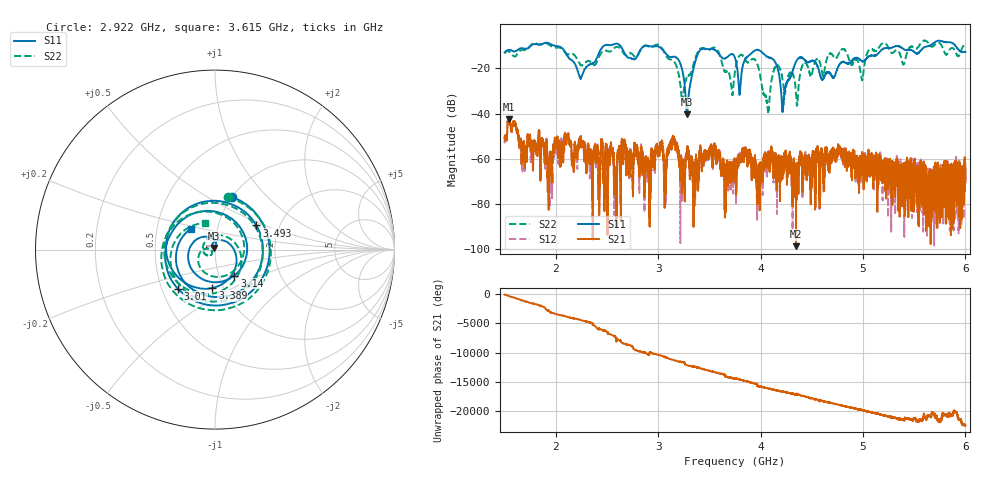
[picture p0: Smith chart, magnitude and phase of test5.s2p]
!Keysight Technologies N9923A: A.08.15
!Date: Monday, 19 February 2024 16:34:29
!Timezone: (GMT-05:00) Eastern Time (US & Canada)
!Model: N9923A
!Serial: MY52412730
!GPS Latitude:
!GPS Longitude:
!GPS TimeStamp: 0001-01-01 00:00:00Z
!GPS Seconds Since Last Read: 0
!CHECKSUM:1809852132
!Correction: S11(ON Q)S21(ON Q)S12(ON Q)S22(ON Q)
!S2P File: Measurements:S11,S21,S12,S22:
# Hz S DB R 50
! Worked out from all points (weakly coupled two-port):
!   10001 points, 1.5 GHz to 6 GHz, reference 50 ohm
!   highest |S21| = -42.56 dB at 1.545 GHz (marker M1); lowest = -98.7 dB at 4.346 GHz (marker M2)
!   lowest |S11| = -40.4 dB at 3.281 GHz (marker M3), VSWR 1.02, Z = 49.6 + j0.881 ohm
!   |S11| at or under -10 dB: 1.999 GHz to 2.468 GHz (469.7 MHz wide, 21 % of centre); 2.904 GHz to 5.333 GHz (2.429 GHz wide, 59 % of centre); 5.334 GHz to 5.648 GHz (313.6 MHz wide, 5.71 % of centre) (the widest 3 of 9)
!   |S22| runs from -39.4 to -7.6 dB; largest |S21 - S12| = 0.0014
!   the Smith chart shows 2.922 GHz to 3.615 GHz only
!   S11 on the Smith chart (normalised r, x): 2.922 GHz: 1.01, +0.65; 3.01 GHz: 0.61, -0.29; 3.14 GHz: 1.18, -0.35; 3.389 GHz: 0.89, -0.40; 3.493 GHz: 1.52, +0.44; 3.615 GHz: 0.74, +0.18
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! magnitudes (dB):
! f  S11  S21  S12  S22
! 1.5 GHz  -12.9  -50.7  -51.9  -13.2
! 1.545 GHz  -11.7  -42.6  -42.8  -12.6
! 1.947 GHz  -9.2  -58.2  -59.3  -9.9
! 2.25 GHz  -23.6  -54.2  -53.5  -18.7
! 2.922 GHz  -10.2  -67.4  -65.3  -10.5
! 3 GHz  -10.3  -56.7  -57.5  -9.5
! 3.01 GHz  -10.5  -56.4  -57.5  -9.7
! 3.14 GHz  -14.9  -51.5  -51.1  -16.3
! 3.281 GHz  -40.4  -57.6  -58.0  -23.8
! 3.389 GHz  -13.4  -66.7  -71.2  -12.5
! 3.493 GHz  -11.5  -58.4  -57.6  -11.8
! 3.615 GHz  -14.9  -64.2  -65.1  -16.1
! 3.75 GHz  -15.3  -62.9  -60.7  -21.2
! 3.797 GHz  -30.8  -60.3  -57.3  -14.2
! 3.942 GHz  -12.1  -59.9  -61.1  -16.0
! 4.066 GHz  -14.9  -59.4  -59.4  -36.8
! 4.117 GHz  -15.8  -59.9  -60.5  -22.8
! 4.219 GHz  -37.4  -63.9  -63.0  -26.3
! 4.346 GHz  -17.0  -98.7  -65.9  -31.2
! 4.5 GHz  -16.6  -60.6  -68.3  -22.8
! 5.25 GHz  -11.0  -67.5  -64.0  -11.0
! 6 GHz  -12.6  -64.5  -68.3  -9.1
